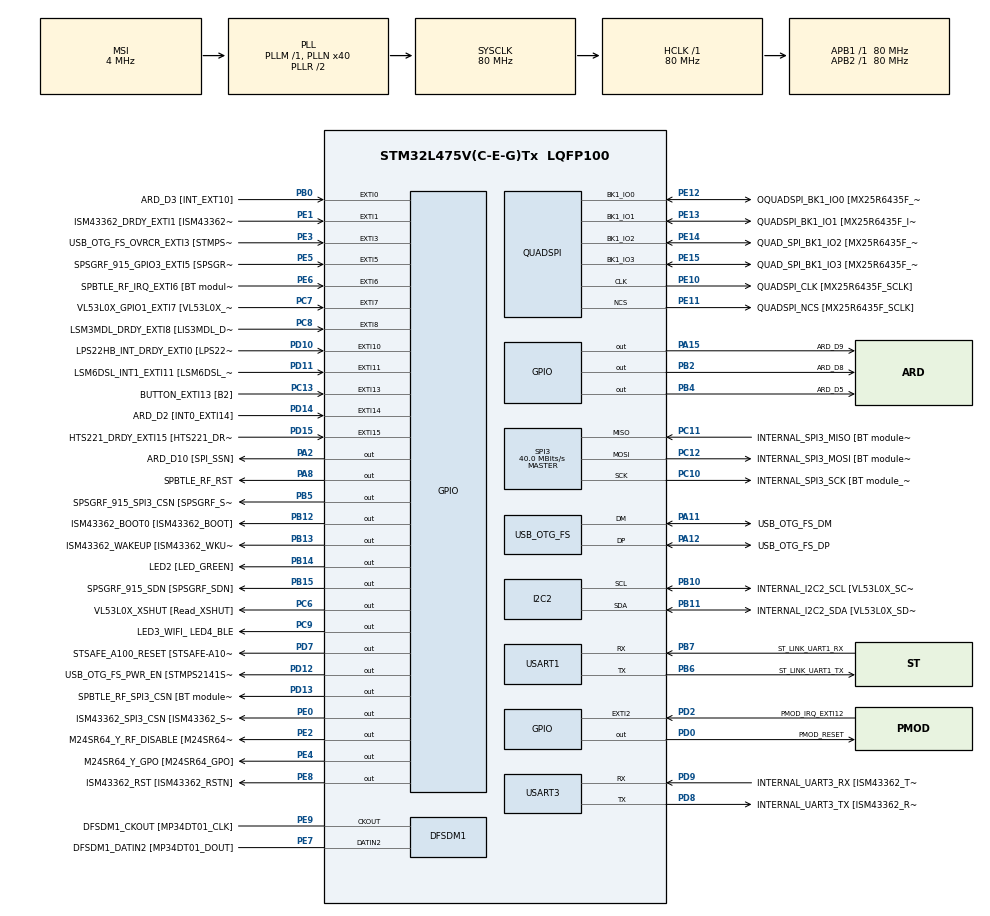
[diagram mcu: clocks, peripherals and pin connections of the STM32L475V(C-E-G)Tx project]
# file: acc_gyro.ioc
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Mcu.Family=STM32L4
Mcu.Name=STM32L475V(C-E-G)Tx
Mcu.Package=LQFP100
NVIC.EXTI15_10_IRQn=true\:0\:0\:false\:false\:true\:true\:true\:true
NVIC.EXTI9_5_IRQn=true\:0\:0\:false\:false\:true\:true\:true\:true
NVIC.PriorityGroup=NVIC_PRIORITYGROUP_4
PA0.GPIO_Label=ARD_D1 [UART4_TX]
PA0.Signal=UART4_TX
PA1.GPIO_Label=ARD_D0 [UART4_RX]
PA1.Signal=UART4_RX
PA10.GPIO_Label=USB_OTG_FS_ID
PA10.Signal=USB_OTG_FS_ID
PA11.GPIO_Label=USB_OTG_FS_DM
PA11.Mode=Device_Only
PA11.Signal=USB_OTG_FS_DM
PA12.GPIO_Label=USB_OTG_FS_DP
PA12.Mode=Device_Only
PA12.Signal=USB_OTG_FS_DP
PA13\ (JTMS-SWDIO).GPIO_Label=SYS_JTMS_SWDIO
PA13\ (JTMS-SWDIO).Mode=Serial_Wire
PA13\ (JTMS-SWDIO).Signal=SYS_JTMS-SWDIO
PA14\ (JTCK-SWCLK).GPIO_Label=SYS_JTCK_SWCLK
PA14\ (JTCK-SWCLK).Mode=Serial_Wire
PA14\ (JTCK-SWCLK).Signal=SYS_JTCK-SWCLK
PA15\ (JTDI).GPIO_Label=ARD_D9
PA15\ (JTDI).Signal=GPIO_Output
PA2.GPIO_Label=ARD_D10 [SPI_SSN]
PA2.Signal=GPIO_Output
PA3.GPIO_Label=ARD_D4
PA3.Signal=S_TIM2_CH4
PA4.GPIO_Label=ARD_D7
PA4.Signal=ADCx_IN9
PA5.GPIO_Label=ARD_D13 [SPI1_SCK]
PA5.Signal=SPI1_SCK
PA6.GPIO_Label=ARD_D12 [SPI1_MISO]
PA6.Signal=SPI1_MISO
PA7.GPIO_Label=ARD_D11 [SPI1_MOSI]
PA7.Signal=SPI1_MOSI
PA8.GPIO_Label=SPBTLE_RF_RST
PA8.Signal=GPIO_Output
PA9.GPIO_Label=USB_OTG_FS_VBUS [STMPS2141STR_OUT]
PA9.Signal=USB_OTG_FS_VBUS
PB0.GPIO_Label=ARD_D3 [INT_EXT10]
PB0.Signal=GPXTI0
PB1.GPIO_Label=ARD_D6 [ADC1_IN6]
PB1.Signal=ADCx_IN16
PB10.GPIO_Label=INTERNAL_I2C2_SCL [VL53L0X_SCL]
PB10.GPIO_Pu=GPIO_PULLUP
PB10.Mode=I2C
PB10.Signal=I2C2_SCL
PB11.GPIO_Label=INTERNAL_I2C2_SDA [VL53L0X_SDA]
PB11.GPIO_Pu=GPIO_PULLUP
PB11.Mode=I2C
PB11.Signal=I2C2_SDA
PB12.GPIO_Label=ISM43362_BOOT0 [ISM43362_BOOT]
PB12.Signal=GPIO_Output
PB13.GPIO_Label=ISM43362_WAKEUP [ISM43362_WKUP]
PB13.Signal=GPIO_Output
PB14.GPIO_Label=LED2 [LED_GREEN]
PB14.Signal=GPIO_Output
PB15.GPIO_Label=SPSGRF_915_SDN [SPSGRF_SDN]
PB15.Signal=GPIO_Output
PB2.GPIO_Label=ARD_D8
PB2.Signal=GPIO_Output
PB3\ (JTDO-TRACESWO).GPIO_Label=SYS_JTD0_SWO
PB3\ (JTDO-TRACESWO).Signal=SYS_JTDO-SWO
PB4\ (NJTRST).GPIO_Label=ARD_D5
PB4\ (NJTRST).Signal=GPIO_Output
PB5.GPIO_Label=SPSGRF_915_SPI3_CSN [SPSGRF_SPI_CS]
PB5.PinState=GPIO_PIN_SET
PB5.Signal=GPIO_Output
PB6.GPIO_Label=ST_LINK_UART1_TX
PB6.Mode=Asynchronous
PB6.Signal=USART1_TX
PB7.GPIO_Label=ST_LINK_UART1_RX
PB7.Mode=Asynchronous
PB7.Signal=USART1_RX
PB8.GPIO_Label=ARD_D15 [I2C1_SCL]
PB8.Signal=I2C1_SCL
PB9.GPIO_Label=ARD_D14 [I2C1_SDA]
PB9.Signal=I2C1_SDA
PC0.GPIO_Label=ARD_A5 [ADC]
PC0.Signal=ADCx_IN1
PC1.GPIO_Label=ARD_A4 [ADC]
PC1.Signal=ADCx_IN2
PC10.GPIO_Label=INTERNAL_SPI3_SCK [BT module_SPI_SCLK] [ISM43362_SCK]
PC10.Mode=Full_Duplex_Master
PC10.Signal=SPI3_SCK
PC11.GPIO_Label=INTERNAL_SPI3_MISO [BT module_SPI_MISO] [ISM43362_MISO]
PC11.Mode=Full_Duplex_Master
PC11.Signal=SPI3_MISO
PC12.GPIO_Label=INTERNAL_SPI3_MOSI [BT module_SPI_MOSI] [ISM43362_MOSI]
PC12.Mode=Full_Duplex_Master
PC12.Signal=SPI3_MOSI
PC13.GPIO_Label=BUTTON_EXTI13 [B2]
PC13.GPIO_ModeDefaultEXTI=GPIO_MODE_IT_FALLING
PC13.Signal=GPXTI13
PC14-OSC32_IN\ (PC14).Mode=LSE-External-Oscillator
PC14-OSC32_IN\ (PC14).Signal=RCC_OSC32_IN
PC15-OSC32_OUT\ (PC15).Mode=LSE-External-Oscillator
PC15-OSC32_OUT\ (PC15).Signal=RCC_OSC32_OUT
PC2.GPIO_Label=ARD_A3 [ADC]
PC2.Signal=ADCx_IN3
PC3.GPIO_Label=ARD_A2 [ADC]
PC3.Signal=ADCx_IN4
PC4.GPIO_Label=ARD_A1 [ADC]
PC4.Signal=ADCx_IN13
PC5.GPIO_Label=ARD_A0 [ADC]
PC5.Signal=ADCx_IN14
PC6.GPIO_Label=VL53L0X_XSHUT [Read_XSHUT]
PC6.Signal=GPIO_Output
PC7.GPIO_Label=VL53L0X_GPIO1_EXTI7 [VL53L0X_GPIO1]
PC7.Signal=GPXTI7
PC8.GPIO_Label=LSM3MDL_DRDY_EXTI8 [LIS3MDL_DRDY]
PC8.Signal=GPXTI8
PC9.GPIO_Label=LED3_WIFI_ LED4_BLE
PC9.Signal=GPIO_Output
PD0.GPIO_Label=PMOD_RESET
PD0.Signal=GPIO_Output
PD1.GPIO_Label=PMOD_SPI2_SCK
PD1.Signal=SPI2_SCK
PD10.GPIO_Label=LPS22HB_INT_DRDY_EXTI0 [LPS22HB_INT_DRDY] 
PD10.Signal=GPXTI10
PD11.GPIO_Label=LSM6DSL_INT1_EXTI11 [LSM6DSL_INT1]
PD11.Signal=GPXTI11
PD12.GPIO_Label=USB_OTG_FS_PWR_EN [STMPS2141STR_EN]
PD12.Signal=GPIO_Output
PD13.GPIO_Label=SPBTLE_RF_SPI3_CSN [BT module_SPI_CS]
PD13.PinState=GPIO_PIN_SET
PD13.Signal=GPIO_Output
PD14.GPIO_Label=ARD_D2 [INT0_EXTI14]
PD14.Signal=GPXTI14
PD15.GPIO_Label=HTS221_DRDY_EXTI15 [HTS221_DRDY]
PD15.Signal=GPXTI15
PD2.GPIO_Label=PMOD_IRQ_EXTI12
PD2.Signal=GPXTI2
PD3.GPIO_Label=PMOD_UART2_CTS
PD3.Signal=USART2_CTS
PD4.GPIO_Label=PMOD_UART2_RTS
PD4.Signal=USART2_RTS
PD5.GPIO_Label=PMOD_UART2_TX
PD5.Signal=USART2_TX
PD6.GPIO_Label=PMOD_UART2_RX
PD6.Signal=USART2_RX
PD7.GPIO_Label=STSAFE_A100_RESET [STSAFE-A100_RESET]
PD7.Signal=GPIO_Output
PD8.GPIO_Label=INTERNAL_UART3_TX [ISM43362_RX]
PD8.Mode=Asynchronous
PD8.Signal=USART3_TX
PD9.GPIO_Label=INTERNAL_UART3_RX [ISM43362_TX]
PD9.Mode=Asynchronous
PD9.Signal=USART3_RX
PE0.GPIO_Label=ISM43362_SPI3_CSN [ISM43362_SSN]
PE0.PinState=GPIO_PIN_SET
PE0.Signal=GPIO_Output
PE1.GPIO_Label=ISM43362_DRDY_EXTI1 [ISM43362_DATARDY]
PE1.Signal=GPXTI1
PE10.GPIO_Label=QUADSPI_CLK [MX25R6435F_SCLK]
PE10.Mode=Single Bank
PE10.Signal=QUADSPI_CLK
PE11.GPIO_Label=QUADSPI_NCS [MX25R6435F_SCLK]
PE11.Mode=Single Bank
PE11.Signal=QUADSPI_NCS
PE12.GPIO_Label=OQUADSPI_BK1_IO0 [MX25R6435F_IO0]
PE12.Mode=Single Bank
PE12.Signal=QUADSPI_BK1_IO0
PE13.GPIO_Label=QUADSPI_BK1_IO1 [MX25R6435F_IO1]
PE13.Mode=Single Bank
PE13.Signal=QUADSPI_BK1_IO1
PE14.GPIO_Label=QUAD_SPI_BK1_IO2 [MX25R6435F_IO2]
PE14.Mode=Single Bank
PE14.Signal=QUADSPI_BK1_IO2
PE15.GPIO_Label=QUAD_SPI_BK1_IO3 [MX25R6435F_IO3]
PE15.Mode=Single Bank
PE15.Signal=QUADSPI_BK1_IO3
PE2.GPIO_Label=M24SR64_Y_RF_DISABLE [M24SR64_RFDIS]
PE2.Signal=GPIO_Output
PE3.GPIO_Label=USB_OTG_FS_OVRCR_EXTI3 [STMPS2141STR_FAULT]
PE3.Signal=GPXTI3
PE4.GPIO_Label=M24SR64_Y_GPO [M24SR64_GPO]
PE4.Signal=GPIO_Output
PE5.GPIO_Label=SPSGRF_915_GPIO3_EXTI5 [SPSGRF_GPIO_3]
PE5.Signal=GPXTI5
PE6.GPIO_Label=SPBTLE_RF_IRQ_EXTI6 [BT module_SPI_IRQ]
PE6.Signal=GPXTI6
PE7.GPIO_Label=DFSDM1_DATIN2 [MP34DT01_DOUT]
PE7.Signal=S_DATAIN2DFSDM1
PE8.GPIO_Label=ISM43362_RST [ISM43362_RSTN]
PE8.Signal=GPIO_Output
PE9.GPIO_Label=DFSDM1_CKOUT [MP34DT01_CLK]
PE9.Signal=S_CKOUTDFSDM1
ProjectManager.HeapSize=0x200
ProjectManager.StackSize=0x400
ProjectManager.TargetToolchain=STM32CubeIDE
QUADSPI.ClockPrescaler=2
QUADSPI.FifoThreshold=4
QUADSPI.FlashSize=23
QUADSPI.SampleShifting=QSPI_SAMPLE_SHIFTING_HALFCYCLE
RCC.ADCFreq_Value=48000000
RCC.AHBFreq_Value=80000000
RCC.APB1Freq_Value=80000000
RCC.APB1TimFreq_Value=80000000
RCC.APB2Freq_Value=80000000
RCC.APB2TimFreq_Value=80000000
RCC.CortexFreq_Value=80000000
RCC.HCLKFreq_Value=80000000
RCC.HSE_VALUE=8000000
RCC.HSI_VALUE=16000000
RCC.MSI_VALUE=4000000
RCC.PLLN=40
RCC.PLLSAI1N=24
RCC.SYSCLKFreq_VALUE=80000000
RCC.SYSCLKSource=RCC_SYSCLKSOURCE_PLLCLK
RCC.USBFreq_Value=48000000
RCC.VCOOutputFreq_Value=160000000
SH.ADCx_IN1.0=ADC1_IN1
SH.ADCx_IN13.0=ADC1_IN13
SH.ADCx_IN14.0=ADC1_IN14
SH.ADCx_IN16.0=ADC1_IN16
SH.ADCx_IN2.0=ADC1_IN2
SH.ADCx_IN3.0=ADC1_IN3
SH.ADCx_IN4.0=ADC1_IN4
SH.ADCx_IN9.0=ADC1_IN9
SH.S_CKOUTDFSDM1.0=DFSDM1_CKOUT,CKOUT
SH.S_CKOUTDFSDM1.1=DFSDM1_CKOUT,PDM_SPI_Input_from_ch12_and_Internal_Clock
SH.S_DATAIN2DFSDM1.0=DFSDM1_DATIN2,PDM_SPI_Input_from_ch12_and_Internal_Clock
SH.S_TIM2_CH4.0=TIM2_CH4
SPI3.CalculateBaudRate=40.0 MBits/s
SPI3.Direction=SPI_DIRECTION_2LINES
SPI3.Mode=SPI_MODE_MASTER
SPI3.VirtualType=VM_MASTER
USART1.VirtualMode-Asynchronous=VM_ASYNC
USART3.VirtualMode-Asynchronous=VM_ASYNC
USB_OTG_FS.VirtualMode=Device_Only
board=B-L475E-IOT01A1

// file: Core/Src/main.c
/* USER CODE BEGIN Header */
/**
 ******************************************************************************
 * @file           : main.c
 * @brief          : Main program body
 ******************************************************************************
 * @attention
 *
 * Copyright (c) 2023 STMicroelectronics.
 * All rights reserved.
 *
 * This software is licensed under terms that can be found in the LICENSE file
 * in the root directory of this software component.
 * If no LICENSE file comes with this software, it is provided AS-IS.
 *
 ******************************************************************************
 */
/* USER CODE END Header */
#include "main.h"

/* USER CODE BEGIN Includes */
#include "stm32l475e_iot01_accelero.h"
#include "stm32l475e_iot01_gyro.h"
/* USER CODE END Includes */

DFSDM_Channel_HandleTypeDef hdfsdm1_channel1;

I2C_HandleTypeDef hi2c2;

QSPI_HandleTypeDef hqspi;

SPI_HandleTypeDef hspi3;

UART_HandleTypeDef huart1;
UART_HandleTypeDef huart3;

PCD_HandleTypeDef hpcd_USB_OTG_FS;

void SystemClock_Config(void);
static void MX_GPIO_Init(void);
static void MX_DFSDM1_Init(void);
static void MX_I2C2_Init(void);
static void MX_QUADSPI_Init(void);
static void MX_SPI3_Init(void);
static void MX_USART1_UART_Init(void);
static void MX_USART3_UART_Init(void);
static void MX_USB_OTG_FS_PCD_Init(void);

int main(void)
{
	/* USER CODE BEGIN 1 */
	BSP_ACCELERO_Init();
	BSP_GYRO_Init();
	/* USER CODE END 1 */

	/* MCU Configuration--------------------------------------------------------*/

	/* Reset of all peripherals, Initializes the Flash interface and the Systick. */
	HAL_Init();

	/* Configure the system clock */
	SystemClock_Config();

	/* Initialize all configured peripherals */
	MX_GPIO_Init();
	MX_DFSDM1_Init();
	MX_I2C2_Init();
	MX_QUADSPI_Init();
	MX_SPI3_Init();
	MX_USART1_UART_Init();
	MX_USART3_UART_Init();
	MX_USB_OTG_FS_PCD_Init();
	/* USER CODE BEGIN 2 */
	int16_t data_acc[3] = {0};
	float data_gyro[3] = {0};
	/* USER CODE END 2 */

	/* Infinite loop */
	while (1)
	{

		/* USER CODE BEGIN 3 */

		BSP_ACCELERO_AccGetXYZ(data_acc);
		BSP_GYRO_GetXYZ(data_gyro);
		char msg[100] = "";
		float data[6] = {0};
		data[0] = (float)data_acc[0];
		data[1] = (float)data_acc[1];
		data[2] = (float)data_acc[2];
		data[3] = data_gyro[0];
		data[4] = data_gyro[1];
		data[5] = data_gyro[2];
		snprintf(msg,100,"%02.f,%02.f,%02.f,%02.f,%02.f,%02.f,\n\r", data[0],data[1],data[2],data[3],data[4],data[5]);
		HAL_UART_Transmit(&huart1,( uint8_t * )msg,sizeof(msg),1000);
		HAL_Delay(100);

	}
	/* USER CODE END 3 */
}

void SystemClock_Config(void)
{
	RCC_OscInitTypeDef RCC_OscInitStruct = {0};
	RCC_ClkInitTypeDef RCC_ClkInitStruct = {0};

	/** Configure the main internal regulator output voltage
	 */
	if (HAL_PWREx_ControlVoltageScaling(PWR_REGULATOR_VOLTAGE_SCALE1) != HAL_OK)
	{
		Error_Handler();
	}

	/** Configure LSE Drive Capability
	 */
	HAL_PWR_EnableBkUpAccess();
	__HAL_RCC_LSEDRIVE_CONFIG(RCC_LSEDRIVE_LOW);

	/** Initializes the RCC Oscillators according to the specified parameters
	 * in the RCC_OscInitTypeDef structure.
	 */
	RCC_OscInitStruct.OscillatorType = RCC_OSCILLATORTYPE_LSE|RCC_OSCILLATORTYPE_MSI;
	RCC_OscInitStruct.LSEState = RCC_LSE_ON;
	RCC_OscInitStruct.MSIState = RCC_MSI_ON;
	RCC_OscInitStruct.MSICalibrationValue = 0;
	RCC_OscInitStruct.MSIClockRange = RCC_MSIRANGE_6;
	RCC_OscInitStruct.PLL.PLLState = RCC_PLL_ON;
	RCC_OscInitStruct.PLL.PLLSource = RCC_PLLSOURCE_MSI;
	RCC_OscInitStruct.PLL.PLLM = 1;
	RCC_OscInitStruct.PLL.PLLN = 40;
	RCC_OscInitStruct.PLL.PLLP = RCC_PLLP_DIV7;
	RCC_OscInitStruct.PLL.PLLQ = RCC_PLLQ_DIV2;
	RCC_OscInitStruct.PLL.PLLR = RCC_PLLR_DIV2;
	if (HAL_RCC_OscConfig(&RCC_OscInitStruct) != HAL_OK)
	{
		Error_Handler();
	}

	/** Initializes the CPU, AHB and APB buses clocks
	 */
	RCC_ClkInitStruct.ClockType = RCC_CLOCKTYPE_HCLK|RCC_CLOCKTYPE_SYSCLK
			|RCC_CLOCKTYPE_PCLK1|RCC_CLOCKTYPE_PCLK2;
	RCC_ClkInitStruct.SYSCLKSource = RCC_SYSCLKSOURCE_PLLCLK;
	RCC_ClkInitStruct.AHBCLKDivider = RCC_SYSCLK_DIV1;
	RCC_ClkInitStruct.APB1CLKDivider = RCC_HCLK_DIV1;
	RCC_ClkInitStruct.APB2CLKDivider = RCC_HCLK_DIV1;

	if (HAL_RCC_ClockConfig(&RCC_ClkInitStruct, FLASH_LATENCY_4) != HAL_OK)
	{
		Error_Handler();
	}

	/** Enable MSI Auto calibration
	 */
	HAL_RCCEx_EnableMSIPLLMode();
}

static void MX_DFSDM1_Init(void)
{

	hdfsdm1_channel1.Instance = DFSDM1_Channel1;
	hdfsdm1_channel1.Init.OutputClock.Activation = ENABLE;
	hdfsdm1_channel1.Init.OutputClock.Selection = DFSDM_CHANNEL_OUTPUT_CLOCK_SYSTEM;
	hdfsdm1_channel1.Init.OutputClock.Divider = 2;
	hdfsdm1_channel1.Init.Input.Multiplexer = DFSDM_CHANNEL_EXTERNAL_INPUTS;
	hdfsdm1_channel1.Init.Input.DataPacking = DFSDM_CHANNEL_STANDARD_MODE;
	hdfsdm1_channel1.Init.Input.Pins = DFSDM_CHANNEL_FOLLOWING_CHANNEL_PINS;
	hdfsdm1_channel1.Init.SerialInterface.Type = DFSDM_CHANNEL_SPI_RISING;
	hdfsdm1_channel1.Init.SerialInterface.SpiClock = DFSDM_CHANNEL_SPI_CLOCK_INTERNAL;
	hdfsdm1_channel1.Init.Awd.FilterOrder = DFSDM_CHANNEL_FASTSINC_ORDER;
	hdfsdm1_channel1.Init.Awd.Oversampling = 1;
	hdfsdm1_channel1.Init.Offset = 0;
	hdfsdm1_channel1.Init.RightBitShift = 0x00;
	if (HAL_DFSDM_ChannelInit(&hdfsdm1_channel1) != HAL_OK)
	{
		Error_Handler();
	}

}

static void MX_I2C2_Init(void)
{

	hi2c2.Instance = I2C2;
	hi2c2.Init.Timing = 0x00000E14;
	hi2c2.Init.OwnAddress1 = 0;
	hi2c2.Init.AddressingMode = I2C_ADDRESSINGMODE_7BIT;
	hi2c2.Init.DualAddressMode = I2C_DUALADDRESS_DISABLE;
	hi2c2.Init.OwnAddress2 = 0;
	hi2c2.Init.OwnAddress2Masks = I2C_OA2_NOMASK;
	hi2c2.Init.GeneralCallMode = I2C_GENERALCALL_DISABLE;
	hi2c2.Init.NoStretchMode = I2C_NOSTRETCH_DISABLE;
	if (HAL_I2C_Init(&hi2c2) != HAL_OK)
	{
		Error_Handler();
	}

	/** Configure Analogue filter
	 */
	if (HAL_I2CEx_ConfigAnalogFilter(&hi2c2, I2C_ANALOGFILTER_ENABLE) != HAL_OK)
	{
		Error_Handler();
	}

	/** Configure Digital filter
	 */
	if (HAL_I2CEx_ConfigDigitalFilter(&hi2c2, 0) != HAL_OK)
	{
		Error_Handler();
	}

}

static void MX_QUADSPI_Init(void)
{

	/* QUADSPI parameter configuration*/
	hqspi.Instance = QUADSPI;
	hqspi.Init.ClockPrescaler = 2;
	hqspi.Init.FifoThreshold = 4;
	hqspi.Init.SampleShifting = QSPI_SAMPLE_SHIFTING_HALFCYCLE;
	hqspi.Init.FlashSize = 23;
	hqspi.Init.ChipSelectHighTime = QSPI_CS_HIGH_TIME_1_CYCLE;
	hqspi.Init.ClockMode = QSPI_CLOCK_MODE_0;
	if (HAL_QSPI_Init(&hqspi) != HAL_OK)
	{
		Error_Handler();
	}

}

static void MX_SPI3_Init(void)
{

	/* SPI3 parameter configuration*/
	hspi3.Instance = SPI3;
	hspi3.Init.Mode = SPI_MODE_MASTER;
	hspi3.Init.Direction = SPI_DIRECTION_2LINES;
	hspi3.Init.DataSize = SPI_DATASIZE_4BIT;
	hspi3.Init.CLKPolarity = SPI_POLARITY_LOW;
	hspi3.Init.CLKPhase = SPI_PHASE_1EDGE;
	hspi3.Init.NSS = SPI_NSS_SOFT;
	hspi3.Init.BaudRatePrescaler = SPI_BAUDRATEPRESCALER_2;
	hspi3.Init.FirstBit = SPI_FIRSTBIT_MSB;
	hspi3.Init.TIMode = SPI_TIMODE_DISABLE;
	hspi3.Init.CRCCalculation = SPI_CRCCALCULATION_DISABLE;
	hspi3.Init.CRCPolynomial = 7;
	hspi3.Init.CRCLength = SPI_CRC_LENGTH_DATASIZE;
	hspi3.Init.NSSPMode = SPI_NSS_PULSE_ENABLE;
	if (HAL_SPI_Init(&hspi3) != HAL_OK)
	{
		Error_Handler();
	}

}

static void MX_USART1_UART_Init(void)
{

	huart1.Instance = USART1;
	huart1.Init.BaudRate = 115200;
	huart1.Init.WordLength = UART_WORDLENGTH_8B;
	huart1.Init.StopBits = UART_STOPBITS_1;
	huart1.Init.Parity = UART_PARITY_NONE;
	huart1.Init.Mode = UART_MODE_TX_RX;
	huart1.Init.HwFlowCtl = UART_HWCONTROL_NONE;
	huart1.Init.OverSampling = UART_OVERSAMPLING_16;
	huart1.Init.OneBitSampling = UART_ONE_BIT_SAMPLE_DISABLE;
	huart1.AdvancedInit.AdvFeatureInit = UART_ADVFEATURE_NO_INIT;
	if (HAL_UART_Init(&huart1) != HAL_OK)
	{
		Error_Handler();
	}

}

static void MX_USART3_UART_Init(void)
{

	huart3.Instance = USART3;
	huart3.Init.BaudRate = 115200;
	huart3.Init.WordLength = UART_WORDLENGTH_8B;
	huart3.Init.StopBits = UART_STOPBITS_1;
	huart3.Init.Parity = UART_PARITY_NONE;
	huart3.Init.Mode = UART_MODE_TX_RX;
	huart3.Init.HwFlowCtl = UART_HWCONTROL_NONE;
	huart3.Init.OverSampling = UART_OVERSAMPLING_16;
	huart3.Init.OneBitSampling = UART_ONE_BIT_SAMPLE_DISABLE;
	huart3.AdvancedInit.AdvFeatureInit = UART_ADVFEATURE_NO_INIT;
	if (HAL_UART_Init(&huart3) != HAL_OK)
	{
		Error_Handler();
	}

}

static void MX_USB_OTG_FS_PCD_Init(void)
{

	hpcd_USB_OTG_FS.Instance = USB_OTG_FS;
	hpcd_USB_OTG_FS.Init.dev_endpoints = 6;
	hpcd_USB_OTG_FS.Init.speed = PCD_SPEED_FULL;
	hpcd_USB_OTG_FS.Init.phy_itface = PCD_PHY_EMBEDDED;
	hpcd_USB_OTG_FS.Init.Sof_enable = DISABLE;
	hpcd_USB_OTG_FS.Init.low_power_enable = DISABLE;
	hpcd_USB_OTG_FS.Init.lpm_enable = DISABLE;
	hpcd_USB_OTG_FS.Init.battery_charging_enable = DISABLE;
	hpcd_USB_OTG_FS.Init.use_dedicated_ep1 = DISABLE;
	hpcd_USB_OTG_FS.Init.vbus_sensing_enable = DISABLE;
	if (HAL_PCD_Init(&hpcd_USB_OTG_FS) != HAL_OK)
	{
		Error_Handler();
	}

}

static void MX_GPIO_Init(void)
{
	GPIO_InitTypeDef GPIO_InitStruct = {0};

	/* GPIO Ports Clock Enable */
	__HAL_RCC_GPIOE_CLK_ENABLE();
	__HAL_RCC_GPIOC_CLK_ENABLE();
	__HAL_RCC_GPIOA_CLK_ENABLE();
	__HAL_RCC_GPIOB_CLK_ENABLE();
	__HAL_RCC_GPIOD_CLK_ENABLE();

	/*Configure GPIO pin Output Level */
	HAL_GPIO_WritePin(GPIOE, M24SR64_Y_RF_DISABLE_Pin|M24SR64_Y_GPO_Pin|ISM43362_RST_Pin, GPIO_PIN_RESET);

	/*Configure GPIO pin Output Level */
	HAL_GPIO_WritePin(GPIOA, ARD_D10_Pin|SPBTLE_RF_RST_Pin|ARD_D9_Pin, GPIO_PIN_RESET);

	/*Configure GPIO pin Output Level */
	HAL_GPIO_WritePin(GPIOB, ARD_D8_Pin|ISM43362_BOOT0_Pin|ISM43362_WAKEUP_Pin|LED2_Pin
			|SPSGRF_915_SDN_Pin|ARD_D5_Pin, GPIO_PIN_RESET);

	/*Configure GPIO pin Output Level */
	HAL_GPIO_WritePin(GPIOD, USB_OTG_FS_PWR_EN_Pin|PMOD_RESET_Pin|STSAFE_A100_RESET_Pin, GPIO_PIN_RESET);

	/*Configure GPIO pin Output Level */
	HAL_GPIO_WritePin(SPBTLE_RF_SPI3_CSN_GPIO_Port, SPBTLE_RF_SPI3_CSN_Pin, GPIO_PIN_SET);

	/*Configure GPIO pin Output Level */
	HAL_GPIO_WritePin(GPIOC, VL53L0X_XSHUT_Pin|LED3_WIFI__LED4_BLE_Pin, GPIO_PIN_RESET);

	/*Configure GPIO pin Output Level */
	HAL_GPIO_WritePin(SPSGRF_915_SPI3_CSN_GPIO_Port, SPSGRF_915_SPI3_CSN_Pin, GPIO_PIN_SET);

	/*Configure GPIO pin Output Level */
	HAL_GPIO_WritePin(ISM43362_SPI3_CSN_GPIO_Port, ISM43362_SPI3_CSN_Pin, GPIO_PIN_SET);

	/*Configure GPIO pins : M24SR64_Y_RF_DISABLE_Pin M24SR64_Y_GPO_Pin ISM43362_RST_Pin ISM43362_SPI3_CSN_Pin */
	GPIO_InitStruct.Pin = M24SR64_Y_RF_DISABLE_Pin|M24SR64_Y_GPO_Pin|ISM43362_RST_Pin|ISM43362_SPI3_CSN_Pin;
	GPIO_InitStruct.Mode = GPIO_MODE_OUTPUT_PP;
	GPIO_InitStruct.Pull = GPIO_NOPULL;
	GPIO_InitStruct.Speed = GPIO_SPEED_FREQ_LOW;
	HAL_GPIO_Init(GPIOE, &GPIO_InitStruct);

	/*Configure GPIO pins : USB_OTG_FS_OVRCR_EXTI3_Pin SPSGRF_915_GPIO3_EXTI5_Pin SPBTLE_RF_IRQ_EXTI6_Pin ISM43362_DRDY_EXTI1_Pin */
	GPIO_InitStruct.Pin = USB_OTG_FS_OVRCR_EXTI3_Pin|SPSGRF_915_GPIO3_EXTI5_Pin|SPBTLE_RF_IRQ_EXTI6_Pin|ISM43362_DRDY_EXTI1_Pin;
	GPIO_InitStruct.Mode = GPIO_MODE_IT_RISING;
	GPIO_InitStruct.Pull = GPIO_NOPULL;
	HAL_GPIO_Init(GPIOE, &GPIO_InitStruct);

	/*Configure GPIO pin : BUTTON_EXTI13_Pin */
	GPIO_InitStruct.Pin = BUTTON_EXTI13_Pin;
	GPIO_InitStruct.Mode = GPIO_MODE_IT_FALLING;
	GPIO_InitStruct.Pull = GPIO_NOPULL;
	HAL_GPIO_Init(BUTTON_EXTI13_GPIO_Port, &GPIO_InitStruct);

	/*Configure GPIO pins : ARD_A5_Pin ARD_A4_Pin ARD_A3_Pin ARD_A2_Pin
                           ARD_A1_Pin ARD_A0_Pin */
	GPIO_InitStruct.Pin = ARD_A5_Pin|ARD_A4_Pin|ARD_A3_Pin|ARD_A2_Pin
			|ARD_A1_Pin|ARD_A0_Pin;
	GPIO_InitStruct.Mode = GPIO_MODE_ANALOG_ADC_CONTROL;
	GPIO_InitStruct.Pull = GPIO_NOPULL;
	HAL_GPIO_Init(GPIOC, &GPIO_InitStruct);

	/*Configure GPIO pins : ARD_D1_Pin ARD_D0_Pin */
	GPIO_InitStruct.Pin = ARD_D1_Pin|ARD_D0_Pin;
	GPIO_InitStruct.Mode = GPIO_MODE_AF_PP;
	GPIO_InitStruct.Pull = GPIO_NOPULL;
	GPIO_InitStruct.Speed = GPIO_SPEED_FREQ_VERY_HIGH;
	GPIO_InitStruct.Alternate = GPIO_AF8_UART4;
	HAL_GPIO_Init(GPIOA, &GPIO_InitStruct);

	/*Configure GPIO pins : ARD_D10_Pin SPBTLE_RF_RST_Pin ARD_D9_Pin */
	GPIO_InitStruct.Pin = ARD_D10_Pin|SPBTLE_RF_RST_Pin|ARD_D9_Pin;
	GPIO_InitStruct.Mode = GPIO_MODE_OUTPUT_PP;
	GPIO_InitStruct.Pull = GPIO_NOPULL;
	GPIO_InitStruct.Speed = GPIO_SPEED_FREQ_LOW;
	HAL_GPIO_Init(GPIOA, &GPIO_InitStruct);

	/*Configure GPIO pin : ARD_D4_Pin */
	GPIO_InitStruct.Pin = ARD_D4_Pin;
	GPIO_InitStruct.Mode = GPIO_MODE_AF_PP;
	GPIO_InitStruct.Pull = GPIO_NOPULL;
	GPIO_InitStruct.Speed = GPIO_SPEED_FREQ_LOW;
	GPIO_InitStruct.Alternate = GPIO_AF1_TIM2;
	HAL_GPIO_Init(ARD_D4_GPIO_Port, &GPIO_InitStruct);

	/*Configure GPIO pin : ARD_D7_Pin */
	GPIO_InitStruct.Pin = ARD_D7_Pin;
	GPIO_InitStruct.Mode = GPIO_MODE_ANALOG_ADC_CONTROL;
	GPIO_InitStruct.Pull = GPIO_NOPULL;
	HAL_GPIO_Init(ARD_D7_GPIO_Port, &GPIO_InitStruct);

	/*Configure GPIO pins : ARD_D13_Pin ARD_D12_Pin ARD_D11_Pin */
	GPIO_InitStruct.Pin = ARD_D13_Pin|ARD_D12_Pin|ARD_D11_Pin;
	GPIO_InitStruct.Mode = GPIO_MODE_AF_PP;
	GPIO_InitStruct.Pull = GPIO_NOPULL;
	GPIO_InitStruct.Speed = GPIO_SPEED_FREQ_VERY_HIGH;
	GPIO_InitStruct.Alternate = GPIO_AF5_SPI1;
	HAL_GPIO_Init(GPIOA, &GPIO_InitStruct);

	/*Configure GPIO pin : ARD_D3_Pin */
	GPIO_InitStruct.Pin = ARD_D3_Pin;
	GPIO_InitStruct.Mode = GPIO_MODE_IT_RISING;
	GPIO_InitStruct.Pull = GPIO_NOPULL;
	HAL_GPIO_Init(ARD_D3_GPIO_Port, &GPIO_InitStruct);

	/*Configure GPIO pin : ARD_D6_Pin */
	GPIO_InitStruct.Pin = ARD_D6_Pin;
	GPIO_InitStruct.Mode = GPIO_MODE_ANALOG_ADC_CONTROL;
	GPIO_InitStruct.Pull = GPIO_NOPULL;
	HAL_GPIO_Init(ARD_D6_GPIO_Port, &GPIO_InitStruct);

	/*Configure GPIO pins : ARD_D8_Pin ISM43362_BOOT0_Pin ISM43362_WAKEUP_Pin LED2_Pin
                           SPSGRF_915_SDN_Pin ARD_D5_Pin SPSGRF_915_SPI3_CSN_Pin */
	GPIO_InitStruct.Pin = ARD_D8_Pin|ISM43362_BOOT0_Pin|ISM43362_WAKEUP_Pin|LED2_Pin
			|SPSGRF_915_SDN_Pin|ARD_D5_Pin|SPSGRF_915_SPI3_CSN_Pin;
	GPIO_InitStruct.Mode = GPIO_MODE_OUTPUT_PP;
	GPIO_InitStruct.Pull = GPIO_NOPULL;
	GPIO_InitStruct.Speed = GPIO_SPEED_FREQ_LOW;
	HAL_GPIO_Init(GPIOB, &GPIO_InitStruct);

	/*Configure GPIO pins : LPS22HB_INT_DRDY_EXTI0_Pin LSM6DSL_INT1_EXTI11_Pin ARD_D2_Pin HTS221_DRDY_EXTI15_Pin
                           PMOD_IRQ_EXTI12_Pin */
	GPIO_InitStruct.Pin = LPS22HB_INT_DRDY_EXTI0_Pin|LSM6DSL_INT1_EXTI11_Pin|ARD_D2_Pin|HTS221_DRDY_EXTI15_Pin
			|PMOD_IRQ_EXTI12_Pin;
	GPIO_InitStruct.Mode = GPIO_MODE_IT_RISING;
	GPIO_InitStruct.Pull = GPIO_NOPULL;
	HAL_GPIO_Init(GPIOD, &GPIO_InitStruct);

	/*Configure GPIO pins : USB_OTG_FS_PWR_EN_Pin SPBTLE_RF_SPI3_CSN_Pin PMOD_RESET_Pin STSAFE_A100_RESET_Pin */
	GPIO_InitStruct.Pin = USB_OTG_FS_PWR_EN_Pin|SPBTLE_RF_SPI3_CSN_Pin|PMOD_RESET_Pin|STSAFE_A100_RESET_Pin;
	GPIO_InitStruct.Mode = GPIO_MODE_OUTPUT_PP;
	GPIO_InitStruct.Pull = GPIO_NOPULL;
	GPIO_InitStruct.Speed = GPIO_SPEED_FREQ_LOW;
	HAL_GPIO_Init(GPIOD, &GPIO_InitStruct);

	/*Configure GPIO pins : VL53L0X_XSHUT_Pin LED3_WIFI__LED4_BLE_Pin */
	GPIO_InitStruct.Pin = VL53L0X_XSHUT_Pin|LED3_WIFI__LED4_BLE_Pin;
	GPIO_InitStruct.Mode = GPIO_MODE_OUTPUT_PP;
	GPIO_InitStruct.Pull = GPIO_NOPULL;
	GPIO_InitStruct.Speed = GPIO_SPEED_FREQ_LOW;
	HAL_GPIO_Init(GPIOC, &GPIO_InitStruct);

	/*Configure GPIO pins : VL53L0X_GPIO1_EXTI7_Pin LSM3MDL_DRDY_EXTI8_Pin */
	GPIO_InitStruct.Pin = VL53L0X_GPIO1_EXTI7_Pin|LSM3MDL_DRDY_EXTI8_Pin;
	GPIO_InitStruct.Mode = GPIO_MODE_IT_RISING;
	GPIO_InitStruct.Pull = GPIO_NOPULL;
	HAL_GPIO_Init(GPIOC, &GPIO_InitStruct);

	/*Configure GPIO pin : PMOD_SPI2_SCK_Pin */
	GPIO_InitStruct.Pin = PMOD_SPI2_SCK_Pin;
	GPIO_InitStruct.Mode = GPIO_MODE_AF_PP;
	GPIO_InitStruct.Pull = GPIO_NOPULL;
	GPIO_InitStruct.Speed = GPIO_SPEED_FREQ_VERY_HIGH;
	GPIO_InitStruct.Alternate = GPIO_AF5_SPI2;
	HAL_GPIO_Init(PMOD_SPI2_SCK_GPIO_Port, &GPIO_InitStruct);

	/*Configure GPIO pins : PMOD_UART2_CTS_Pin PMOD_UART2_RTS_Pin PMOD_UART2_TX_Pin PMOD_UART2_RX_Pin */
	GPIO_InitStruct.Pin = PMOD_UART2_CTS_Pin|PMOD_UART2_RTS_Pin|PMOD_UART2_TX_Pin|PMOD_UART2_RX_Pin;
	GPIO_InitStruct.Mode = GPIO_MODE_AF_PP;
	GPIO_InitStruct.Pull = GPIO_NOPULL;
	GPIO_InitStruct.Speed = GPIO_SPEED_FREQ_VERY_HIGH;
	GPIO_InitStruct.Alternate = GPIO_AF7_USART2;
	HAL_GPIO_Init(GPIOD, &GPIO_InitStruct);

	/*Configure GPIO pins : ARD_D15_Pin ARD_D14_Pin */
	GPIO_InitStruct.Pin = ARD_D15_Pin|ARD_D14_Pin;
	GPIO_InitStruct.Mode = GPIO_MODE_AF_OD;
	GPIO_InitStruct.Pull = GPIO_NOPULL;
	GPIO_InitStruct.Speed = GPIO_SPEED_FREQ_VERY_HIGH;
	GPIO_InitStruct.Alternate = GPIO_AF4_I2C1;
	HAL_GPIO_Init(GPIOB, &GPIO_InitStruct);

	/* EXTI interrupt init*/
	HAL_NVIC_SetPriority(EXTI9_5_IRQn, 0, 0);
	HAL_NVIC_EnableIRQ(EXTI9_5_IRQn);

	HAL_NVIC_SetPriority(EXTI15_10_IRQn, 0, 0);
	HAL_NVIC_EnableIRQ(EXTI15_10_IRQn);

}

void Error_Handler(void)
{
	__disable_irq();
	while (1)
	{
	}
}
